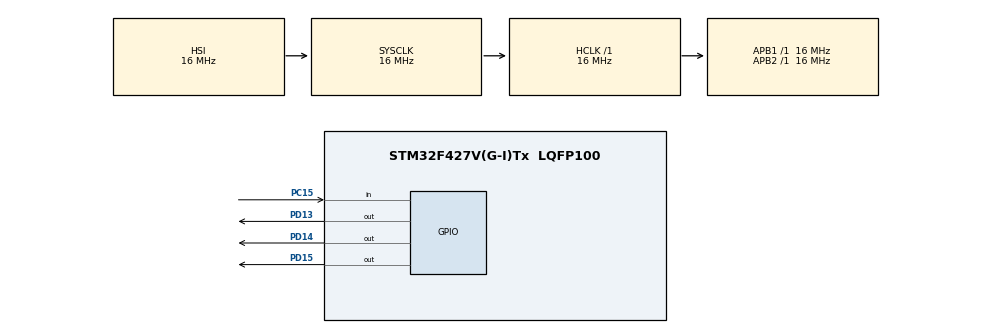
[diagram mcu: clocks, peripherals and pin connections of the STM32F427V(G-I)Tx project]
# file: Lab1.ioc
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Mcu.Family=STM32F4
Mcu.Name=STM32F427V(G-I)Tx
Mcu.Package=LQFP100
NVIC.PriorityGroup=NVIC_PRIORITYGROUP_4
PA13.Mode=JTAG_5_pins
PA13.Signal=SYS_JTMS-SWDIO
PA14.Mode=JTAG_5_pins
PA14.Signal=SYS_JTCK-SWCLK
PA15.Mode=JTAG_5_pins
PA15.Signal=SYS_JTDI
PB3.Mode=JTAG_5_pins
PB3.Signal=SYS_JTDO-SWO
PB4.Mode=JTAG_5_pins
PB4.Signal=SYS_JTRST
PC15/OSC32_OUT.Signal=GPIO_Input
PD13.Signal=GPIO_Output
PD14.Signal=GPIO_Output
PD15.Signal=GPIO_Output
ProjectManager.HeapSize=0x200
ProjectManager.StackSize=0x400
ProjectManager.TargetToolchain=STM32CubeIDE
RCC.AHBFreq_Value=16000000
RCC.APB1Freq_Value=16000000
RCC.APB2Freq_Value=16000000
RCC.CortexFreq_Value=16000000
RCC.HSE_VALUE=25000000
RCC.HSI_VALUE=16000000
RCC.LSE_VALUE=32768
RCC.SYSCLKFreq_VALUE=16000000
RCC.VCOOutputFreq_Value=192000000
board=custom

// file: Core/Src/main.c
/* USER CODE BEGIN Header */
/**
  ******************************************************************************
  * @file           : main.c
  * @brief          : Main program body
  ******************************************************************************
  * @attention
  *
  * Copyright (c) 2024 STMicroelectronics.
  * All rights reserved.
  *
  * This software is licensed under terms that can be found in the LICENSE file
  * in the root directory of this software component.
  * If no LICENSE file comes with this software, it is provided AS-IS.
  *
  ******************************************************************************
  */
/* USER CODE END Header */
#include "main.h"
#include "gpio.h"
#include "btn.h"

void SystemClock_Config(void);

int main(void)
{

  /* MCU Configuration--------------------------------------------------------*/

  /* Reset of all peripherals, Initializes the Flash interface and the Systick. */
  HAL_Init();

  /* Configure the system clock */
  SystemClock_Config();

  /* Initialize all configured peripherals */
  MX_GPIO_Init();
  /* USER CODE BEGIN 2 */
  uint32_t garland_modes[4][4][2] = {
		  {
				  { 0x1, 500 },
				  { 0x2, 500 },
				  { 0x1, 500 },
				  { 0x2, 500 }
 		  },
		  {
				  { 0x3, 500 },
				  { 0x0, 500 },
				  { 0x3, 500 },
				  { 0x0, 500 }
 		  },
		  {
				  { 0x1, 3000 },
				  { 0x2, 3000 },
				  { 0x4, 3000 },
				  { 0x0, 500 }
 		  },
		  {
				  { 0x2, 100 },
				  { 0x4, 100 },
				  { 0x2, 100 },
				  { 0x4, 100 }
 		  }
  };
  size_t modes_steps[] = { 0, 0, 0, 0 };
  size_t cur_mode = 0;

  int should_change_mode = 0;
  uint16_t btn_state;
  /* USER CODE END 2 */

  /* Infinite loop */
  /* USER CODE BEGIN WHILE */
  while (1)
  {
	  size_t cur_mode_step = modes_steps[cur_mode];
	  uint32_t* cur_state = garland_modes[cur_mode][cur_mode_step];

	  HAL_GPIO_WritePin(GPIOD, GPIO_PIN_13, GPIO_PIN_RESET);
	  HAL_GPIO_WritePin(GPIOD, GPIO_PIN_14, GPIO_PIN_RESET);
	  HAL_GPIO_WritePin(GPIOD, GPIO_PIN_15, GPIO_PIN_RESET);

	  uint32_t leds = cur_state[0];
	  if ((leds & 0x1) != 0) HAL_GPIO_WritePin(GPIOD, GPIO_PIN_13, GPIO_PIN_SET);
	  if ((leds & 0x2) != 0) HAL_GPIO_WritePin(GPIOD, GPIO_PIN_14, GPIO_PIN_SET);
	  if ((leds & 0x4) != 0) HAL_GPIO_WritePin(GPIOD, GPIO_PIN_15, GPIO_PIN_SET);

	  uint32_t wait_ticks = cur_state[1];
	  uint32_t ticks = HAL_GetTick();
	  while ((HAL_GetTick() - ticks) < wait_ticks) {
		  BTN_GetState(&btn_state);
		  if (BTN_IsSet(&btn_state, BTN_DOWN_EVENT)) {
			  should_change_mode = 1;
			  break;
		  }
	  }

	  if (should_change_mode == 1) {
		  should_change_mode = 0;
		  cur_mode = (cur_mode + 1) % 4;
		  continue;
	  }

	  modes_steps[cur_mode] = (modes_steps[cur_mode] + 1) % 4;
    /* USER CODE END WHILE */

  }
}

void SystemClock_Config(void)
{
  RCC_OscInitTypeDef RCC_OscInitStruct = {0};
  RCC_ClkInitTypeDef RCC_ClkInitStruct = {0};

  /** Configure the main internal regulator output voltage
  */
  __HAL_RCC_PWR_CLK_ENABLE();
  __HAL_PWR_VOLTAGESCALING_CONFIG(PWR_REGULATOR_VOLTAGE_SCALE3);

  /** Initializes the RCC Oscillators according to the specified parameters
  * in the RCC_OscInitTypeDef structure.
  */
  RCC_OscInitStruct.OscillatorType = RCC_OSCILLATORTYPE_HSI;
  RCC_OscInitStruct.HSIState = RCC_HSI_ON;
  RCC_OscInitStruct.HSICalibrationValue = RCC_HSICALIBRATION_DEFAULT;
  RCC_OscInitStruct.PLL.PLLState = RCC_PLL_NONE;
  if (HAL_RCC_OscConfig(&RCC_OscInitStruct) != HAL_OK)
  {
    Error_Handler();
  }

  /** Initializes the CPU, AHB and APB buses clocks
  */
  RCC_ClkInitStruct.ClockType = RCC_CLOCKTYPE_HCLK|RCC_CLOCKTYPE_SYSCLK
                              |RCC_CLOCKTYPE_PCLK1|RCC_CLOCKTYPE_PCLK2;
  RCC_ClkInitStruct.SYSCLKSource = RCC_SYSCLKSOURCE_HSI;
  RCC_ClkInitStruct.AHBCLKDivider = RCC_SYSCLK_DIV1;
  RCC_ClkInitStruct.APB1CLKDivider = RCC_HCLK_DIV1;
  RCC_ClkInitStruct.APB2CLKDivider = RCC_HCLK_DIV1;

  if (HAL_RCC_ClockConfig(&RCC_ClkInitStruct, FLASH_LATENCY_0) != HAL_OK)
  {
    Error_Handler();
  }
}

void Error_Handler(void)
{
  __disable_irq();
  while (1)
  {
  }
}
